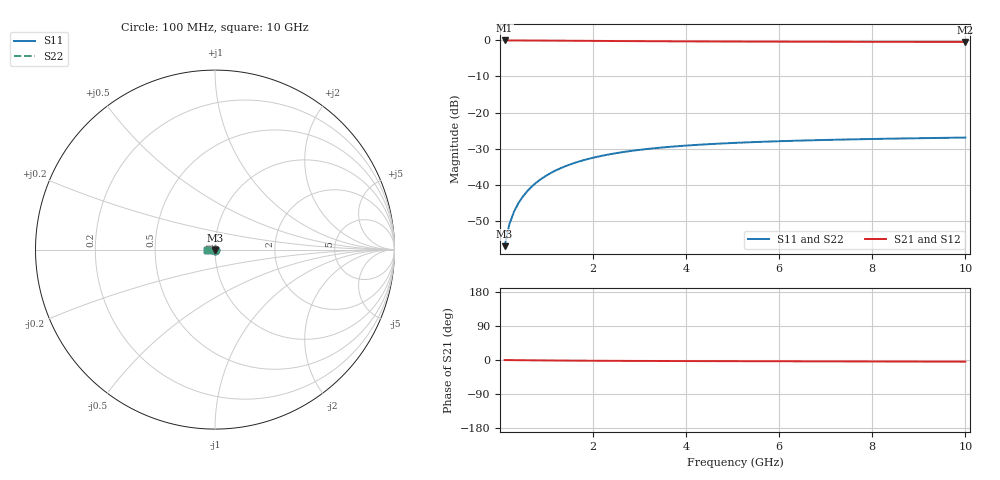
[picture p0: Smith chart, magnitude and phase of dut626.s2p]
! Touchstone file exported from HFSS 2024.1.0
!  File:  C:/UserFiles/LocalFiles/RDL_TSV_Batchsim/temp_TSV1_626_1779789595.aedt
!  Generated:  06:04:50 PM May 26, 2026
!  Design:  TSV1
!  Project:  temp_TSV1_626_1779789595
!  Setup:  Setup1
!  Solution:  Sweep
! Variables:
!  dtsv = 14.12um
!  hbump = 3um
!  htsv = 65.31um
!  lrdl = 252.1521522um
!  p = 40
!  p1 = 58.11um
!  t = 500um
!  trdl = 3um
!  wrdl = 24.89489489um
# GHz S MA R 50.000000
! Terminal data exported
! Port[1] = TSV22_T1
! Port[2] = TSV22_T2
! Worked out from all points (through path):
!   100 points, 100 MHz to 10 GHz, reference 50 ohm
!   highest |S21| = 0.00 dB at 100 MHz (marker M1); lowest = -0.4 dB at 10 GHz (marker M2)
!   lowest |S11| = -57.1 dB at 100 MHz (marker M3), VSWR 1.00, Z = 50 - j0.14 ohm
!   |S11| at or under -10 dB: start of sweep to end of sweep
!   |S22| runs from -57.1 to -27.0 dB; largest |S21 - S12| = 3e-15
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0.1  0.001396 -89.0  0.9999 -0.1  0.9999 -0.1  0.001396 -89.0
! Gamma 0 0 0 0
! Port Impedance 50 0 50 0
0.2  0.00279 -92.3  0.9997 -0.2  0.9997 -0.2  0.00279 -92.3
0.3  0.004181 -94.7  0.9995 -0.4  0.9995 -0.4  0.004181 -94.7
0.4  0.005562 -96.9  0.9991 -0.5  0.9991 -0.5  0.005562 -96.9
0.5  0.006928 -99.1  0.9987 -0.6  0.9987 -0.6  0.006928 -99.1
0.6  0.008272 -101.1  0.9981 -0.7  0.9981 -0.7  0.008272 -101.1
0.7  0.009591 -103.1  0.9976 -0.8  0.9976 -0.8  0.009591 -103.1
0.8  0.01088 -105.1  0.9969 -0.9  0.9969 -0.9  0.01088 -105.1
0.9  0.01214 -107.0  0.9962 -1.1  0.9962 -1.1  0.01214 -107.0
1.1  0.01456 -110.7  0.9946 -1.3  0.9946 -1.3  0.01456 -110.7
1.4  0.0179 -116.0  0.992 -1.5  0.992 -1.5  0.0179 -116.0
1.6  0.01994 -119.2  0.9901 -1.7  0.9901 -1.7  0.01994 -119.2
1.8  0.02182 -122.3  0.9882 -1.8  0.9882 -1.8  0.02182 -122.3
2.1  0.02437 -126.6  0.9853 -2.0  0.9853 -2.0  0.02437 -126.6
2.5  0.0273 -131.8  0.9817 -2.2  0.9817 -2.2  0.0273 -131.8
2.9  0.02976 -136.5  0.9783 -2.4  0.9783 -2.4  0.02976 -136.5
3.4  0.0323 -141.5  0.9746 -2.6  0.9746 -2.6  0.0323 -141.5
4.2  0.03543 -148.4  0.9697 -2.9  0.9697 -2.9  0.03543 -148.4
5.1  0.03802 -154.7  0.9654 -3.1  0.9654 -3.1  0.03802 -154.7
6.7  0.04115 -163.6  0.9601 -3.5  0.9601 -3.5  0.04115 -163.6
8.4  0.04336 -170.9  0.9564 -4.0  0.9564 -4.0  0.04336 -170.9
10  0.04489 -176.6  0.9541 -4.4  0.9541 -4.4  0.04489 -176.6
